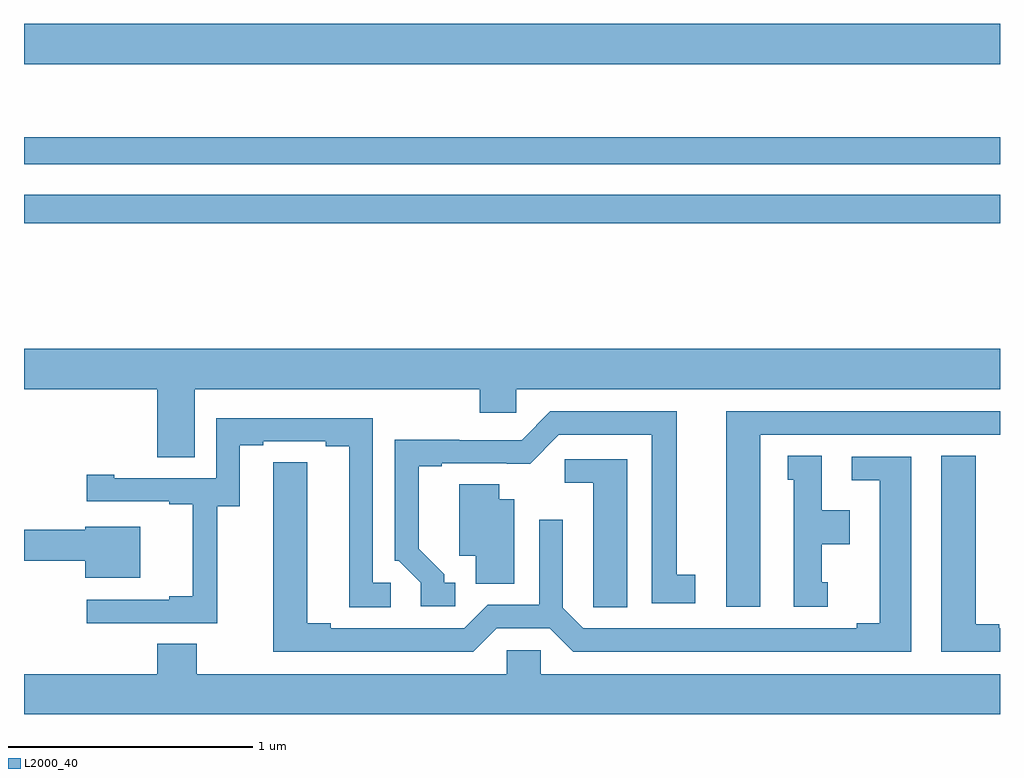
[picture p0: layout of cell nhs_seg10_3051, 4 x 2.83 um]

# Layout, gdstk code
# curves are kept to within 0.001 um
import gdstk
lib = gdstk.Library(unit=1e-6, precision=1e-09)
def R(c, l, rs):  # rectangles x0, y0, x1, y1
    for r in rs: c.add(gdstk.rectangle(r[:2], r[2:], *l))
def P(c, l, *ps):  # polygons
    for p in ps: c.add(gdstk.Polygon(p, *l))
L2000_40 = (2000, 40)

nhs_seg10_3051 = lib.new_cell('nhs_seg10_3051')
R(nhs_seg10_3051, L2000_40, [(277,1261.036,281,1261.152), (277,1261.278,281,1261.387), (277,1261.688,281,1261.852)])
P(nhs_seg10_3051, L2000_40, [(277.699,1260.356),(278.867,1260.356),(278.867,1260.258),(279.018,1260.258),(279.018,1260.356),(281,1260.356),(281,1260.52),(277,1260.52),(277,1260.356),(277.547,1260.356),(277.547,1260.076),(277.699,1260.076)],
  [(278.767,1259.562),(278.722,1259.562),(278.722,1259.597),(278.617,1259.702),(278.617,1260.039),(278.713,1260.039),(278.713,1260.051),(279.074,1260.05),(279.192,1260.168),(279.572,1260.168),(279.572,1259.478),(279.751,1259.478),(279.751,1259.594),(279.676,1259.594),(279.676,1260.264),(279.156,1260.264),(279.039,1260.147),(278.783,1260.147),(278.783,1260.149),(278.52,1260.149),(278.52,1259.652),(278.535,1259.652),(278.625,1259.562),(278.625,1259.466),(278.767,1259.466)],
  [(280.018,1260.168),(281,1260.168),(281,1260.264),(279.878,1260.264),(279.878,1259.463),(280.018,1259.463)],
  [(277.791,1259.875),(277.885,1259.875),(277.885,1260.126),(277.981,1260.126),(277.981,1260.141),(278.237,1260.141),(278.237,1260.121),(278.333,1260.121),(278.333,1259.461),(278.503,1259.461),(278.503,1259.562),(278.43,1259.562),(278.43,1260.237),(277.788,1260.237),(277.788,1259.991),(277.369,1259.991),(277.369,1260.004),(277.257,1260.004),(277.257,1259.895),(277.595,1259.895),(277.595,1259.883),(277.691,1259.883),(277.691,1259.506),(277.595,1259.506),(277.595,1259.493),(277.257,1259.493),(277.257,1259.397),(277.791,1259.397)],
  [(280.294,1259.565),(280.27,1259.565),(280.27,1259.72),(280.384,1259.72),(280.384,1259.86),(280.27,1259.86),(280.27,1260.083),(280.13,1260.083),(280.13,1259.985),(280.154,1259.985),(280.154,1259.463),(280.294,1259.463)],
  [(281,1259.376),(280.996,1259.376),(280.996,1259.391),(280.9,1259.391),(280.9,1260.083),(280.76,1260.083),(280.76,1259.28),(281,1259.28)],
  [(278.937,1259.376),(279.155,1259.376),(279.251,1259.28),(280.636,1259.28),(280.636,1260.078),(280.392,1260.078),(280.392,1259.982),(280.508,1259.982),(280.508,1259.396),(280.412,1259.396),(280.412,1259.376),(279.291,1259.376),(279.207,1259.46),(279.207,1259.821),(279.111,1259.821),(279.111,1259.472),(278.901,1259.472),(278.805,1259.376),(278.257,1259.376),(278.257,1259.396),(278.161,1259.396),(278.161,1260.056),(278.022,1260.056),(278.021,1259.28),(278.841,1259.28)],
  [(279.472,1260.069),(279.216,1260.069),(279.216,1259.972),(279.332,1259.972),(279.332,1259.569),(279.333,1259.569),(279.333,1259.461),(279.472,1259.461)],
  [(279.01,1259.905),(278.947,1259.905),(278.947,1259.966),(278.783,1259.966),(278.783,1259.672),(278.852,1259.672),(278.852,1259.557),(279.01,1259.557)],
  [(277.477,1259.791),(277.25,1259.791),(277.25,1259.78),(277,1259.78),(277,1259.652),(277.25,1259.652),(277.25,1259.582),(277.477,1259.582)],
  [(281,1259.188),(279.117,1259.188),(279.117,1259.286),(278.979,1259.286),(278.979,1259.188),(277.707,1259.188),(277.707,1259.312),(277.547,1259.312),(277.547,1259.188),(277,1259.188),(277,1259.024),(281,1259.024)])

lib.write_gds('nhs_seg10_3051.gds')
